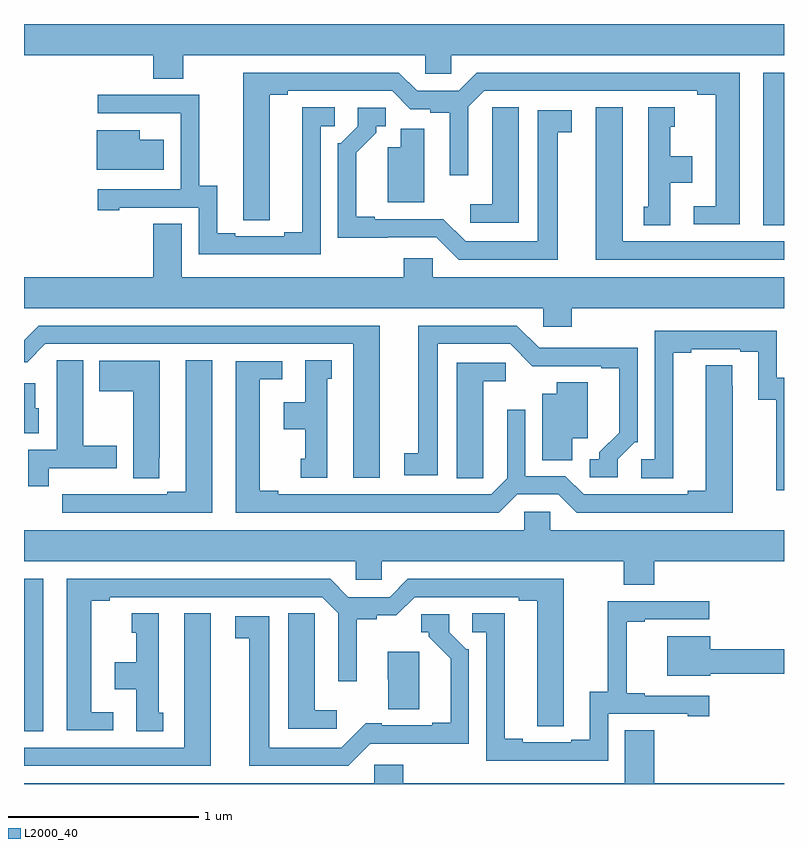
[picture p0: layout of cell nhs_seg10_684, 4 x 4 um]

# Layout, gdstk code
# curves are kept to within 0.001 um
import gdstk
lib = gdstk.Library(unit=1e-6, precision=1e-09)
def R(c, l, rs):  # rectangles x0, y0, x1, y1
    for r in rs: c.add(gdstk.rectangle(r[:2], r[2:], *l))
def P(c, l, *ps):  # polygons
    for p in ps: c.add(gdstk.Polygon(p, *l))
L2000_40 = (2000, 40)

nhs_seg10_684 = lib.new_cell('nhs_seg10_684')
R(nhs_seg10_684, L2000_40, [(145,1276.777,145.102,1277.58), (148.892,1279.441,149,1280.244)])
P(nhs_seg10_684, L2000_40, [(145.839,1280.336),(147.111,1280.336),(147.111,1280.238),(147.249,1280.238),(147.249,1280.336),(149,1280.336),(149,1280.5),(145,1280.5),(145,1280.336),(145.679,1280.336),(145.679,1280.212),(145.839,1280.212)],
  [(148.768,1280.244),(147.383,1280.244),(147.287,1280.148),(147.069,1280.148),(146.973,1280.244),(146.153,1280.244),(146.154,1279.468),(146.293,1279.468),(146.293,1280.128),(146.389,1280.128),(146.389,1280.148),(146.937,1280.148),(147.033,1280.052),(147.138,1280.052),(147.138,1280.032),(147.242,1280.032),(147.242,1279.704),(147.339,1279.704),(147.339,1280.064),(147.423,1280.148),(148.544,1280.148),(148.544,1280.128),(148.64,1280.128),(148.64,1279.542),(148.524,1279.542),(148.524,1279.446),(148.768,1279.446)],
  [(146.562,1279.962),(146.635,1279.962),(146.635,1280.063),(146.465,1280.063),(146.465,1279.403),(146.369,1279.403),(146.369,1279.383),(146.113,1279.383),(146.113,1279.398),(146.017,1279.398),(146.017,1279.649),(145.923,1279.649),(145.923,1280.127),(145.389,1280.127),(145.389,1280.031),(145.823,1280.031),(145.823,1280.03),(145.824,1280.03),(145.824,1279.629),(145.389,1279.629),(145.389,1279.521),(145.501,1279.521),(145.501,1279.533),(145.92,1279.533),(145.92,1279.287),(146.562,1279.287)],
  [(147.604,1280.063),(147.465,1280.063),(147.465,1279.955),(147.464,1279.955),(147.464,1279.552),(147.348,1279.552),(147.348,1279.455),(147.604,1279.455)],
  [(149,1279.356),(148.15,1279.356),(148.15,1280.062),(148.01,1280.062),(148.01,1279.26),(149,1279.26)],
  [(148.402,1279.664),(148.516,1279.664),(148.516,1279.804),(148.402,1279.804),(148.402,1279.959),(148.426,1279.959),(148.426,1280.062),(148.286,1280.062),(148.286,1279.539),(148.262,1279.539),(148.262,1279.441),(148.402,1279.441)],
  [(147.808,1279.93),(147.883,1279.93),(147.883,1280.046),(147.704,1280.046),(147.704,1279.356),(147.324,1279.356),(147.207,1279.473),(146.845,1279.473),(146.845,1279.486),(146.749,1279.486),(146.749,1279.822),(146.854,1279.927),(146.854,1279.962),(146.904,1279.962),(146.904,1280.058),(146.757,1280.058),(146.757,1279.962),(146.667,1279.872),(146.652,1279.872),(146.652,1279.376),(147.171,1279.377),(147.288,1279.26),(147.808,1279.26)],
  [(147.106,1279.95),(146.984,1279.95),(146.984,1279.852),(146.915,1279.852),(146.915,1279.562),(147.106,1279.562)],
  [(145.735,1279.891),(145.609,1279.891),(145.609,1279.942),(145.382,1279.942),(145.382,1279.733),(145.735,1279.733)],
  [(147.884,1279.004),(149,1279.004),(149,1279.168),(147.15,1279.168),(147.15,1279.266),(146.999,1279.266),(146.999,1279.168),(145.831,1279.168),(145.831,1279.448),(145.679,1279.448),(145.679,1279.168),(145,1279.168),(145,1279.004),(147.732,1279.004),(147.732,1278.906),(147.884,1278.906)],
  [(146.872,1278.912),(145.077,1278.912),(145,1278.835),(145,1278.72),(145.017,1278.72),(145.113,1278.816),(146.732,1278.816),(146.732,1278.111),(146.872,1278.111)],
  [(148.125,1278.21),(148.215,1278.3),(148.23,1278.3),(148.23,1278.797),(147.967,1278.797),(147.967,1278.795),(147.711,1278.795),(147.594,1278.912),(147.074,1278.912),(147.074,1278.242),(147,1278.242),(147,1278.126),(147.178,1278.126),(147.178,1278.816),(147.558,1278.816),(147.676,1278.698),(148.037,1278.699),(148.037,1278.687),(148.133,1278.687),(148.133,1278.35),(148.028,1278.245),(148.028,1278.21),(147.978,1278.21),(147.978,1278.114),(148.125,1278.114)],
  [(149,1278.639),(148.962,1278.639),(148.962,1278.885),(148.32,1278.885),(148.32,1278.21),(148.248,1278.21),(148.248,1278.109),(148.417,1278.109),(148.417,1278.769),(148.513,1278.769),(148.513,1278.789),(148.769,1278.789),(148.769,1278.774),(148.865,1278.774),(148.865,1278.523),(148.96,1278.523),(148.96,1278.045),(149,1278.045)],
  [(145.99,1278.731),(145.85,1278.731),(145.85,1278.039),(145.754,1278.039),(145.754,1278.024),(145.478,1278.024),(145.478,1278.025),(145.312,1278.025),(145.312,1278.024),(145.2,1278.024),(145.2,1277.928),(145.99,1277.928)],
  [(146.596,1278.633),(146.62,1278.633),(146.62,1278.731),(146.48,1278.731),(146.48,1278.508),(146.366,1278.508),(146.366,1278.368),(146.48,1278.368),(146.48,1278.213),(146.456,1278.213),(146.456,1278.111),(146.596,1278.111)],
  [(145.13,1278.162),(145.489,1278.162),(145.489,1278.279),(145.312,1278.279),(145.312,1278.731),(145.173,1278.731),(145.173,1278.62),(145.172,1278.62),(145.172,1278.258),(145.022,1278.258),(145.022,1278.066),(145.13,1278.066)],
  [(145.713,1278.217),(145.714,1278.217),(145.714,1278.727),(145.397,1278.727),(145.397,1278.568),(145.574,1278.568),(145.574,1278.109),(145.713,1278.109)],
  [(147.595,1278.024),(147.813,1278.024),(147.909,1277.928),(148.729,1277.928),(148.728,1278.704),(148.589,1278.704),(148.589,1278.044),(148.493,1278.044),(148.493,1278.024),(147.945,1278.024),(147.849,1278.12),(147.639,1278.12),(147.639,1278.469),(147.543,1278.469),(147.543,1278.108),(147.459,1278.024),(146.338,1278.024),(146.338,1278.044),(146.242,1278.044),(146.242,1278.63),(146.359,1278.63),(146.359,1278.726),(146.114,1278.726),(146.114,1277.928),(147.499,1277.928)],
  [(147.417,1278.217),(147.418,1278.217),(147.418,1278.62),(147.535,1278.62),(147.535,1278.717),(147.278,1278.717),(147.278,1278.109),(147.417,1278.109)],
  [(147.886,1278.32),(147.967,1278.32),(147.967,1278.614),(147.803,1278.614),(147.803,1278.553),(147.728,1278.553),(147.728,1278.205),(147.886,1278.205)],
  [(145.078,1278.477),(145.06,1278.477),(145.06,1278.61),(145,1278.61),(145,1278.347),(145.078,1278.347)],
  [(148.316,1277.672),(149,1277.672),(149,1277.836),(147.771,1277.836),(147.771,1277.934),(147.633,1277.934),(147.633,1277.836),(145,1277.836),(145,1277.672),(146.745,1277.672),(146.745,1277.574),(146.883,1277.574),(146.883,1277.672),(148.156,1277.672),(148.156,1277.548),(148.316,1277.548)],
  [(145.471,1276.878),(145.354,1276.878),(145.354,1277.464),(145.45,1277.464),(145.45,1277.484),(146.571,1277.484),(146.655,1277.4),(146.655,1277.04),(146.752,1277.04),(146.752,1277.368),(146.856,1277.368),(146.856,1277.387),(146.96,1277.387),(147.057,1277.484),(147.605,1277.484),(147.605,1277.464),(147.701,1277.464),(147.701,1276.804),(147.84,1276.804),(147.841,1277.58),(147.021,1277.58),(146.925,1277.484),(146.707,1277.484),(146.611,1277.58),(145.226,1277.58),(145.226,1276.782),(145.471,1276.782)],
  [(148.074,1276.869),(148.493,1276.869),(148.493,1276.857),(148.606,1276.857),(148.606,1276.965),(148.267,1276.965),(148.267,1276.978),(148.172,1276.978),(148.172,1277.355),(148.267,1277.355),(148.267,1277.367),(148.606,1277.367),(148.606,1277.463),(148.072,1277.463),(148.072,1276.985),(147.977,1276.985),(147.977,1276.734),(147.881,1276.734),(147.881,1276.719),(147.625,1276.719),(147.625,1276.739),(147.529,1276.739),(147.529,1277.399),(147.36,1277.399),(147.36,1277.298),(147.432,1277.298),(147.432,1276.623),(148.074,1276.623)],
  [(146.647,1276.888),(146.53,1276.888),(146.53,1277.291),(146.529,1277.291),(146.529,1277.399),(146.39,1277.399),(146.39,1276.791),(146.647,1276.791)],
  [(145.984,1277.398),(145.844,1277.398),(145.844,1276.692),(145,1276.692),(145,1276.596),(145.984,1276.596)],
  [(145.732,1276.875),(145.708,1276.875),(145.708,1277.398),(145.568,1277.398),(145.568,1277.295),(145.592,1277.295),(145.592,1277.14),(145.478,1277.14),(145.478,1277),(145.592,1277),(145.592,1276.777),(145.732,1276.777)],
  [(146.823,1276.713),(147.342,1276.712),(147.342,1277.208),(147.327,1277.208),(147.237,1277.298),(147.237,1277.394),(147.09,1277.394),(147.09,1277.298),(147.129,1277.298),(147.129,1277.275),(147.245,1277.158),(147.245,1276.822),(147.149,1276.822),(147.149,1276.809),(146.884,1276.809),(146.884,1276.82),(146.798,1276.82),(146.67,1276.692),(146.29,1276.692),(146.29,1277.382),(146.112,1277.382),(146.112,1277.266),(146.186,1277.266),(146.186,1276.596),(146.706,1276.596)],
  [(148.612,1277.08),(149,1277.08),(149,1277.209),(148.612,1277.209),(148.612,1277.278),(148.385,1277.278),(148.385,1277.069),(148.612,1277.069)],
  [(147.079,1277.197),(146.915,1277.197),(146.915,1277.052),(146.917,1277.052),(146.917,1276.894),(147.079,1276.894)],
  [(149,1276.504),(148.316,1276.504),(148.316,1276.784),(148.163,1276.784),(148.163,1276.504),(146.996,1276.504),(146.996,1276.602),(146.844,1276.602),(146.844,1276.504),(145,1276.504),(145,1276.5),(149,1276.5)])

lib.write_gds('nhs_seg10_684.gds')
